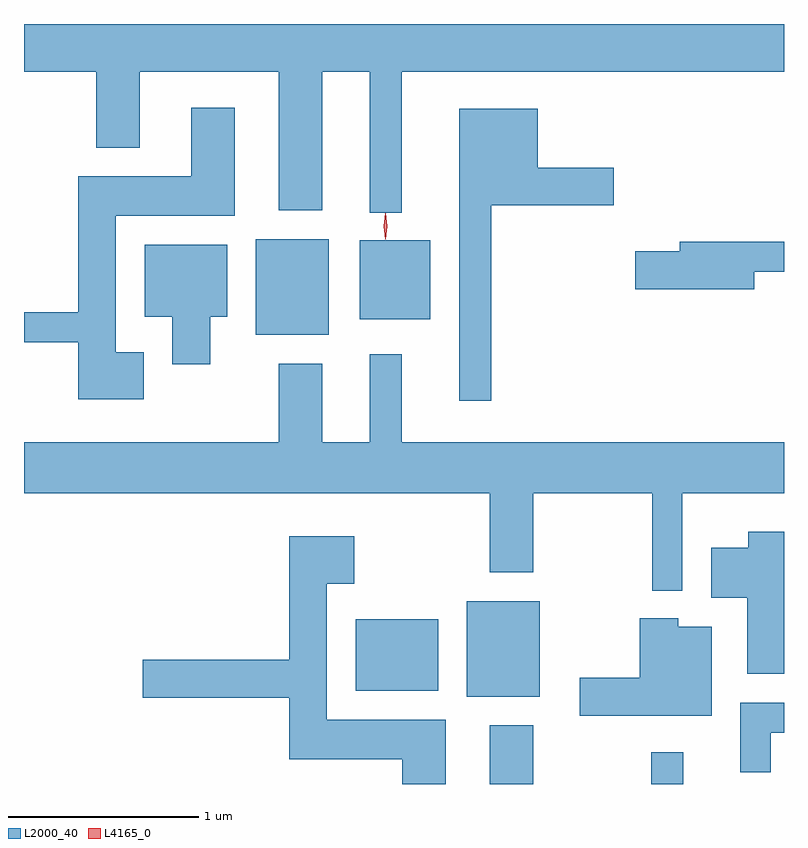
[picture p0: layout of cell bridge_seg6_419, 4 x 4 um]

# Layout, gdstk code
import gdstk
lib = gdstk.Library(unit=1e-6, precision=1e-09)
def R(c, l, rs):  # rectangles x0, y0, x1, y1
    for r in rs: c.add(gdstk.rectangle(r[:2], r[2:], *l))
def P(c, l, *ps):  # polygons
    for p in ps: c.add(gdstk.Polygon(p, *l))
L2000_40 = (2000, 40)
L4165_0 = (4165, 0)

bridge_seg6_419 = lib.new_cell('bridge_seg6_419')
R(bridge_seg6_419, L2000_40, [(825.741,1643.966,825.969,1644.274), (826.591,1643.966,826.759,1644.133), (825.621,1644.426,826.004,1644.929), (825.036,1644.456,825.469,1644.834), (824.511,1646.331,824.894,1646.834), (825.056,1646.411,825.429,1646.829)])
P(bridge_seg6_419, L2000_40, [(825.279,1647.716),(827.29,1647.716),(827.29,1647.966),(823.29,1647.966),(823.29,1647.716),(823.671,1647.716),(823.671,1647.316),(823.899,1647.316),(823.899,1647.716),(824.631,1647.716),(824.631,1646.986),(824.859,1646.986),(824.859,1647.716),(825.111,1647.716),(825.111,1646.973),(825.279,1646.973)],
  [(823.919,1646.239),(823.774,1646.239),(823.774,1646.956),(824.399,1646.956),(824.399,1647.524),(824.171,1647.524),(824.171,1647.164),(823.576,1647.164),(823.576,1646.449),(823.29,1646.449),(823.29,1646.291),(823.576,1646.291),(823.576,1645.991),(823.919,1645.991)],
  [(825.749,1647.011),(826.394,1647.011),(826.394,1647.209),(825.994,1647.209),(825.994,1647.519),(825.581,1647.519),(825.581,1645.983),(825.749,1645.983)],
  [(827.134,1646.661),(827.29,1646.661),(827.29,1646.819),(826.741,1646.819),(826.741,1646.769),(826.506,1646.769),(826.506,1646.571),(827.134,1646.571)],
  [(824.269,1646.426),(824.359,1646.426),(824.359,1646.804),(823.926,1646.804),(823.926,1646.426),(824.071,1646.426),(824.071,1646.176),(824.269,1646.176)],
  [(826.754,1645.496),(827.29,1645.496),(827.29,1645.764),(825.279,1645.764),(825.279,1646.228),(825.111,1646.228),(825.111,1645.764),(824.859,1645.764),(824.859,1646.179),(824.631,1646.179),(824.631,1645.764),(823.29,1645.764),(823.29,1645.496),(825.741,1645.496),(825.741,1645.081),(825.969,1645.081),(825.969,1645.496),(826.596,1645.496),(826.596,1644.983),(826.754,1644.983)],
  [(827.29,1645.294),(827.101,1645.294),(827.101,1645.209),(826.906,1645.209),(826.906,1644.946),(827.096,1644.946),(827.096,1644.546),(827.29,1644.546)],
  [(825.509,1644.304),(824.884,1644.304),(824.884,1645.021),(825.029,1645.021),(825.029,1645.269),(824.686,1645.269),(824.686,1644.619),(823.916,1644.619),(823.916,1644.421),(824.686,1644.421),(824.686,1644.096),(825.281,1644.096),(825.281,1643.966),(825.509,1643.966)],
  [(826.909,1644.794),(826.734,1644.794),(826.734,1644.839),(826.531,1644.839),(826.531,1644.524),(826.216,1644.524),(826.216,1644.326),(826.909,1644.326)],
  [(827.219,1644.236),(827.29,1644.236),(827.29,1644.394),(827.061,1644.394),(827.061,1644.028),(827.219,1644.028)])
P(bridge_seg6_419, L4165_0, [(825.192,1646.834),(825.183,1646.902),(825.192,1646.97),(825.193,1646.97),(825.193,1646.97),(825.203,1646.902),(825.193,1646.834),(825.193,1646.834)],
  [(825.192,1646.838),(825.183,1646.902),(825.192,1646.967),(825.193,1646.967),(825.193,1646.967),(825.203,1646.902),(825.193,1646.838),(825.193,1646.838)])

lib.write_gds('bridge_seg6_419.gds')
